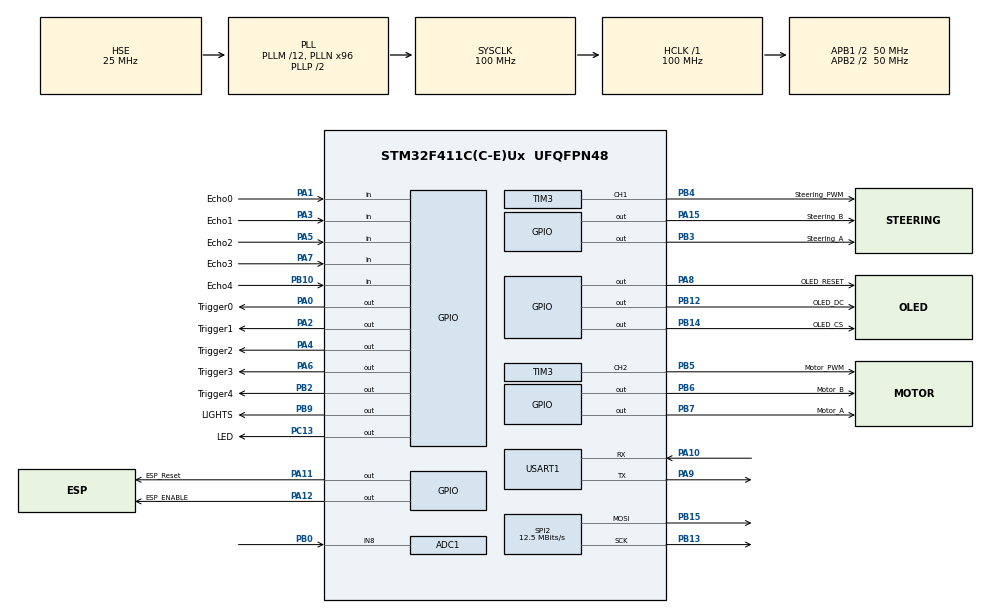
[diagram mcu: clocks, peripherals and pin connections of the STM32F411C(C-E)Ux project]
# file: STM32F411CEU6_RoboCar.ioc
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ADC1.Channel-1\#ChannelRegularConversion=ADC_CHANNEL_8
ADC1.ContinuousConvMode=ENABLE
ADC1.DMAContinuousRequests=DISABLE
ADC1.ExternalTrigConv=ADC_EXTERNALTRIGCONV_T3_CC1
ADC1.NbrOfConversion=1
ADC1.NbrOfConversionFlag=1
ADC1.Rank-1\#ChannelRegularConversion=1
ADC1.SamplingTime-1\#ChannelRegularConversion=ADC_SAMPLETIME_3CYCLES
ADC1.ScanConvMode=ENABLE
ADC1.master=1
IWDG.Prescaler=IWDG_PRESCALER_256
IWDG.Reload=512
Mcu.Family=STM32F4
Mcu.Name=STM32F411C(C-E)Ux
Mcu.Package=UFQFPN48
NVIC.ADC_IRQn=true\:0\:0\:false\:false\:true\:true\:true\:true
NVIC.PriorityGroup=NVIC_PRIORITYGROUP_4
NVIC.TIM2_IRQn=true\:0\:0\:false\:false\:true\:true\:true\:true
NVIC.TIM3_IRQn=true\:0\:0\:false\:false\:true\:true\:true\:true
NVIC.TIM4_IRQn=true\:0\:0\:false\:false\:true\:true\:true\:true
NVIC.USART1_IRQn=true\:0\:0\:false\:false\:true\:true\:true\:true
PA0-WKUP.GPIO_Label=Trigger0
PA0-WKUP.GPIO_Speed=GPIO_SPEED_FREQ_VERY_HIGH
PA0-WKUP.Signal=GPIO_Output
PA1.GPIO_Label=Echo0
PA1.GPIO_PuPd=GPIO_NOPULL
PA1.Signal=GPIO_Input
PA10.Mode=Asynchronous
PA10.Signal=USART1_RX
PA11.GPIO_Label=ESP_Reset
PA11.GPIO_Speed=GPIO_SPEED_FREQ_VERY_HIGH
PA11.PinState=GPIO_PIN_SET
PA11.Signal=GPIO_Output
PA12.GPIO_Label=ESP_ENABLE
PA12.GPIO_Speed=GPIO_SPEED_FREQ_VERY_HIGH
PA12.PinState=GPIO_PIN_SET
PA12.Signal=GPIO_Output
PA13.Mode=Serial_Wire
PA13.Signal=SYS_JTMS-SWDIO
PA14.Mode=Serial_Wire
PA14.Signal=SYS_JTCK-SWCLK
PA15.GPIO_Label=Steering_B
PA15.GPIO_Speed=GPIO_SPEED_FREQ_VERY_HIGH
PA15.Signal=GPIO_Output
PA2.GPIO_Label=Trigger1
PA2.GPIO_Speed=GPIO_SPEED_FREQ_VERY_HIGH
PA2.Signal=GPIO_Output
PA3.GPIO_Label=Echo1
PA3.GPIO_PuPd=GPIO_NOPULL
PA3.Signal=GPIO_Input
PA4.GPIO_Label=Trigger2
PA4.GPIO_Speed=GPIO_SPEED_FREQ_VERY_HIGH
PA4.Signal=GPIO_Output
PA5.GPIO_Label=Echo2
PA5.GPIO_PuPd=GPIO_NOPULL
PA5.Signal=GPIO_Input
PA6.GPIO_Label=Trigger3
PA6.GPIO_Speed=GPIO_SPEED_FREQ_VERY_HIGH
PA6.Signal=GPIO_Output
PA7.GPIO_Label=Echo3
PA7.GPIO_PuPd=GPIO_NOPULL
PA7.Signal=GPIO_Input
PA8.GPIO_Label=OLED_RESET
PA8.GPIO_Speed=GPIO_SPEED_FREQ_VERY_HIGH
PA8.PinState=GPIO_PIN_RESET
PA8.Signal=GPIO_Output
PA9.Mode=Asynchronous
PA9.Signal=USART1_TX
PB0.Signal=ADCx_IN8
PB10.GPIO_Label=Echo4
PB10.GPIO_PuPd=GPIO_NOPULL
PB10.Signal=GPIO_Input
PB12.GPIO_Label=OLED_DC
PB12.GPIO_Speed=GPIO_SPEED_FREQ_VERY_HIGH
PB12.PinState=GPIO_PIN_RESET
PB12.Signal=GPIO_Output
PB13.Mode=TX_Only_Simplex_Unidirect_Master
PB13.Signal=SPI2_SCK
PB14.GPIO_Label=OLED_CS
PB14.GPIO_Speed=GPIO_SPEED_FREQ_VERY_HIGH
PB14.PinState=GPIO_PIN_SET
PB14.Signal=GPIO_Output
PB15.Mode=TX_Only_Simplex_Unidirect_Master
PB15.Signal=SPI2_MOSI
PB2.GPIO_Label=Trigger4
PB2.GPIO_Speed=GPIO_SPEED_FREQ_VERY_HIGH
PB2.Signal=GPIO_Output
PB3.GPIO_Label=Steering_A
PB3.GPIO_Speed=GPIO_SPEED_FREQ_VERY_HIGH
PB3.Signal=GPIO_Output
PB4.GPIO_Label=Steering_PWM
PB4.Signal=S_TIM3_CH1
PB5.GPIO_Label=Motor_PWM
PB5.Signal=S_TIM3_CH2
PB6.GPIO_Label=Motor_B
PB6.GPIO_Speed=GPIO_SPEED_FREQ_VERY_HIGH
PB6.Signal=GPIO_Output
PB7.GPIO_Label=Motor_A
PB7.GPIO_Speed=GPIO_SPEED_FREQ_VERY_HIGH
PB7.Signal=GPIO_Output
PB9.GPIO_Label=LIGHTS
PB9.GPIO_Speed=GPIO_SPEED_FREQ_LOW
PB9.Signal=GPIO_Output
PC13-ANTI_TAMP.GPIO_Label=LED
PC13-ANTI_TAMP.PinState=GPIO_PIN_SET
PC13-ANTI_TAMP.Signal=GPIO_Output
PH0\ -\ OSC_IN.Mode=HSE-External-Oscillator
PH0\ -\ OSC_IN.Signal=RCC_OSC_IN
PH1\ -\ OSC_OUT.Mode=HSE-External-Oscillator
PH1\ -\ OSC_OUT.Signal=RCC_OSC_OUT
ProjectManager.HeapSize=0x200
ProjectManager.StackSize=0x400
ProjectManager.TargetToolchain=STM32CubeIDE
RCC.48MHZClocksFreq_Value=50000000
RCC.AHBFreq_Value=100000000
RCC.APB1CLKDivider=RCC_HCLK_DIV2
RCC.APB1Freq_Value=50000000
RCC.APB1TimFreq_Value=100000000
RCC.APB2CLKDivider=RCC_HCLK_DIV2
RCC.APB2Freq_Value=50000000
RCC.APB2TimFreq_Value=100000000
RCC.CortexFreq_Value=100000000
RCC.HCLKFreq_Value=100000000
RCC.HSE_VALUE=25000000
RCC.HSI_VALUE=16000000
RCC.LSE_VALUE=32768
RCC.PLLM=12
RCC.PLLN=96
RCC.PLLSourceVirtual=RCC_PLLSOURCE_HSE
RCC.SYSCLKFreq_VALUE=100000000
RCC.SYSCLKSource=RCC_SYSCLKSOURCE_PLLCLK
RCC.VCOOutputFreq_Value=200000000
SH.ADCx_IN8.0=ADC1_IN8,IN8
SH.S_TIM3_CH1.0=TIM3_CH1,PWM Generation1 CH1
SH.S_TIM3_CH2.0=TIM3_CH2,PWM Generation2 CH2
SPI2.BaudRatePrescaler=SPI_BAUDRATEPRESCALER_4
SPI2.CalculateBaudRate=12.5 MBits/s
SPI2.Direction=SPI_DIRECTION_2LINES
SPI2.Mode=SPI_MODE_MASTER
SPI2.VirtualType=VM_MASTER
TIM2.Period=9999
TIM2.Prescaler=10000
TIM3.Channel-PWM\ Generation1\ CH1=TIM_CHANNEL_1
TIM3.Channel-PWM\ Generation2\ CH2=TIM_CHANNEL_2
TIM3.Period=255
TIM3.Prescaler=7812
TIM4.Period=57
TIM4.Prescaler=100
USART1.VirtualMode=VM_ASYNC
VP_IWDG_VS_IWDG.Mode=IWDG_Activate
VP_TIM2_VS_ClockSourceINT.Mode=Internal
VP_TIM3_VS_ClockSourceINT.Mode=Internal
VP_TIM4_VS_ClockSourceINT.Mode=Internal
board=custom

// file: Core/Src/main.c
/* USER CODE BEGIN Header */
/**
  ******************************************************************************
  * @file           : main.c
  * @brief          : Main program body
  ******************************************************************************
  * @attention
  *
  * <h2><center>&copy; Copyright (c) 2021 STMicroelectronics.
  * All rights reserved.</center></h2>
  *
  * This software component is licensed by ST under BSD 3-Clause license,
  * the "License"; You may not use this file except in compliance with the
  * License. You may obtain a copy of the License at:
  *                        opensource.org/licenses/BSD-3-Clause
  *
  ******************************************************************************
  */
/* USER CODE END Header */
#include "main.h"

/* USER CODE BEGIN Includes */
#include "myLibrary.h"
/* USER CODE END Includes */

ADC_HandleTypeDef hadc1;

IWDG_HandleTypeDef hiwdg;

SPI_HandleTypeDef hspi2;

TIM_HandleTypeDef htim2;
TIM_HandleTypeDef htim3;
TIM_HandleTypeDef htim4;

UART_HandleTypeDef huart1;

void SystemClock_Config(void);
static void MX_GPIO_Init(void);
static void MX_ADC1_Init(void);
static void MX_TIM2_Init(void);
static void MX_TIM3_Init(void);
static void MX_USART1_UART_Init(void);
static void MX_TIM4_Init(void);
static void MX_SPI2_Init(void);
static void MX_IWDG_Init(void);

int main(void)
{

  /* MCU Configuration--------------------------------------------------------*/

  /* Reset of all peripherals, Initializes the Flash interface and the Systick. */
  HAL_Init();

  /* Configure the system clock */
  SystemClock_Config();

  /* Initialize all configured peripherals */
  MX_GPIO_Init();
  MX_ADC1_Init();
  MX_TIM2_Init();
  MX_TIM3_Init();
  MX_USART1_UART_Init();
  MX_TIM4_Init();
  MX_SPI2_Init();
  MX_IWDG_Init();
  /* USER CODE BEGIN 2 */
	//WatchDog set to 3.2768 seconds
	IWDG->KR = 0xAAAA;//Reset WatchDog
	IWDG->KR = 0xCCCC;//Start WatchDog
  HAL_TIM_Base_Start_IT(&htim2);//1s
  HAL_TIM_Base_Start_IT(&htim3);//20ms -> 50Hz
  HAL_TIM_PWM_Start_IT(&htim3, Steering_PWM_Channel);
  HAL_TIM_PWM_Start_IT(&htim3, Motor_PWM_Channel);
  __HAL_TIM_SET_COMPARE(&htim3, Steering_PWM_Channel, 255);
  __HAL_TIM_SET_COMPARE(&htim3, Motor_PWM_Channel, 0);
  HAL_ADC_Start_IT(&hadc1);
	ssd1306_Init();
	ssd1306_Fill(Black);
	ssd1306_SetCursor(0, 0);
	ssd1306_WriteString("   STM32", Font_11x18, White);
	ssd1306_SetCursor(0, 20);
	ssd1306_WriteString("  ESP8266", Font_11x18, White);
	ssd1306_SetCursor(0, 40);
	ssd1306_WriteString("  Booting", Font_11x18, White);
	ssd1306_UpdateScreen();
	__HAL_UART_ENABLE_IT(&huart1, UART_IT_RXNE);
	ESP_Server_Init();
	HAL_GPIO_WritePin(Steering_B_GPIO_Port, Steering_B_Pin, 0);
	HAL_GPIO_WritePin(Steering_A_GPIO_Port, Steering_A_Pin, 0);
  /* USER CODE END 2 */

  /* Infinite loop */
  while (1)
  {

    /* USER CODE BEGIN 3 */
	IWDG->KR = 0xAAAA;//Reset WatchDog

	if(oneSecondFlag)
	{
		oneSecondFlag = 0;
		measureDistances();
		calculateBattery();
		updateScreen();
	}

	if(messageHandlerFlag)
	{
	  messageHandlerFlag = 0;
	  netTimeout = 0;
	  no_activity_counter = 0;
	  messageHandler();
	}

	  if(no_activity_counter > 20
		&& esp_state == ESP_Connected)
	  {
		  IWDG->KR = 0xAAAA;//Reset WatchDog
		  HAL_UART_Transmit(&huart1, (uint8_t*)"AT+CWJAP?\r\n", strlen("AT+CWJAP?\r\n"), 100);
		  esp_state = ESP_Disconnected;//until message handler confirms
		  HAL_Delay(500);
	  }else if(esp_state == ESP_Disconnected
			  && no_activity_counter > 30)
	  {
		  ESP_Server_Init();
	  }
  }
  /* USER CODE END 3 */
}

void SystemClock_Config(void)
{
  RCC_OscInitTypeDef RCC_OscInitStruct = {0};
  RCC_ClkInitTypeDef RCC_ClkInitStruct = {0};

  /** Configure the main internal regulator output voltage
  */
  __HAL_RCC_PWR_CLK_ENABLE();
  __HAL_PWR_VOLTAGESCALING_CONFIG(PWR_REGULATOR_VOLTAGE_SCALE1);

  /** Initializes the RCC Oscillators according to the specified parameters
  * in the RCC_OscInitTypeDef structure.
  */
  RCC_OscInitStruct.OscillatorType = RCC_OSCILLATORTYPE_LSI|RCC_OSCILLATORTYPE_HSE;
  RCC_OscInitStruct.HSEState = RCC_HSE_ON;
  RCC_OscInitStruct.LSIState = RCC_LSI_ON;
  RCC_OscInitStruct.PLL.PLLState = RCC_PLL_ON;
  RCC_OscInitStruct.PLL.PLLSource = RCC_PLLSOURCE_HSE;
  RCC_OscInitStruct.PLL.PLLM = 12;
  RCC_OscInitStruct.PLL.PLLN = 96;
  RCC_OscInitStruct.PLL.PLLP = RCC_PLLP_DIV2;
  RCC_OscInitStruct.PLL.PLLQ = 4;
  if (HAL_RCC_OscConfig(&RCC_OscInitStruct) != HAL_OK)
  {
    Error_Handler();
  }

  /** Initializes the CPU, AHB and APB buses clocks
  */
  RCC_ClkInitStruct.ClockType = RCC_CLOCKTYPE_HCLK|RCC_CLOCKTYPE_SYSCLK
                              |RCC_CLOCKTYPE_PCLK1|RCC_CLOCKTYPE_PCLK2;
  RCC_ClkInitStruct.SYSCLKSource = RCC_SYSCLKSOURCE_PLLCLK;
  RCC_ClkInitStruct.AHBCLKDivider = RCC_SYSCLK_DIV1;
  RCC_ClkInitStruct.APB1CLKDivider = RCC_HCLK_DIV2;
  RCC_ClkInitStruct.APB2CLKDivider = RCC_HCLK_DIV2;

  if (HAL_RCC_ClockConfig(&RCC_ClkInitStruct, FLASH_LATENCY_3) != HAL_OK)
  {
    Error_Handler();
  }
}

static void MX_ADC1_Init(void)
{

  ADC_ChannelConfTypeDef sConfig = {0};

  /** Configure the global features of the ADC (Clock, Resolution, Data Alignment and number of conversion)
  */
  hadc1.Instance = ADC1;
  hadc1.Init.ClockPrescaler = ADC_CLOCK_SYNC_PCLK_DIV2;
  hadc1.Init.Resolution = ADC_RESOLUTION_12B;
  hadc1.Init.ScanConvMode = ENABLE;
  hadc1.Init.ContinuousConvMode = ENABLE;
  hadc1.Init.DiscontinuousConvMode = DISABLE;
  hadc1.Init.ExternalTrigConvEdge = ADC_EXTERNALTRIGCONVEDGE_RISING;
  hadc1.Init.ExternalTrigConv = ADC_EXTERNALTRIGCONV_T3_CC1;
  hadc1.Init.DataAlign = ADC_DATAALIGN_RIGHT;
  hadc1.Init.NbrOfConversion = 1;
  hadc1.Init.DMAContinuousRequests = DISABLE;
  hadc1.Init.EOCSelection = ADC_EOC_SINGLE_CONV;
  if (HAL_ADC_Init(&hadc1) != HAL_OK)
  {
    Error_Handler();
  }

  /** Configure for the selected ADC regular channel its corresponding rank in the sequencer and its sample time.
  */
  sConfig.Channel = ADC_CHANNEL_8;
  sConfig.Rank = 1;
  sConfig.SamplingTime = ADC_SAMPLETIME_3CYCLES;
  if (HAL_ADC_ConfigChannel(&hadc1, &sConfig) != HAL_OK)
  {
    Error_Handler();
  }

}

static void MX_IWDG_Init(void)
{

  hiwdg.Instance = IWDG;
  hiwdg.Init.Prescaler = IWDG_PRESCALER_256;
  hiwdg.Init.Reload = 512;
  if (HAL_IWDG_Init(&hiwdg) != HAL_OK)
  {
    Error_Handler();
  }

}

static void MX_SPI2_Init(void)
{

  /* SPI2 parameter configuration*/
  hspi2.Instance = SPI2;
  hspi2.Init.Mode = SPI_MODE_MASTER;
  hspi2.Init.Direction = SPI_DIRECTION_2LINES;
  hspi2.Init.DataSize = SPI_DATASIZE_8BIT;
  hspi2.Init.CLKPolarity = SPI_POLARITY_LOW;
  hspi2.Init.CLKPhase = SPI_PHASE_1EDGE;
  hspi2.Init.NSS = SPI_NSS_SOFT;
  hspi2.Init.BaudRatePrescaler = SPI_BAUDRATEPRESCALER_4;
  hspi2.Init.FirstBit = SPI_FIRSTBIT_MSB;
  hspi2.Init.TIMode = SPI_TIMODE_DISABLE;
  hspi2.Init.CRCCalculation = SPI_CRCCALCULATION_DISABLE;
  hspi2.Init.CRCPolynomial = 10;
  if (HAL_SPI_Init(&hspi2) != HAL_OK)
  {
    Error_Handler();
  }

}

static void MX_TIM2_Init(void)
{

  TIM_ClockConfigTypeDef sClockSourceConfig = {0};
  TIM_MasterConfigTypeDef sMasterConfig = {0};

  htim2.Instance = TIM2;
  htim2.Init.Prescaler = 10000;
  htim2.Init.CounterMode = TIM_COUNTERMODE_UP;
  htim2.Init.Period = 9999;
  htim2.Init.ClockDivision = TIM_CLOCKDIVISION_DIV1;
  htim2.Init.AutoReloadPreload = TIM_AUTORELOAD_PRELOAD_DISABLE;
  if (HAL_TIM_Base_Init(&htim2) != HAL_OK)
  {
    Error_Handler();
  }
  sClockSourceConfig.ClockSource = TIM_CLOCKSOURCE_INTERNAL;
  if (HAL_TIM_ConfigClockSource(&htim2, &sClockSourceConfig) != HAL_OK)
  {
    Error_Handler();
  }
  sMasterConfig.MasterOutputTrigger = TIM_TRGO_RESET;
  sMasterConfig.MasterSlaveMode = TIM_MASTERSLAVEMODE_DISABLE;
  if (HAL_TIMEx_MasterConfigSynchronization(&htim2, &sMasterConfig) != HAL_OK)
  {
    Error_Handler();
  }

}

static void MX_TIM3_Init(void)
{

  TIM_ClockConfigTypeDef sClockSourceConfig = {0};
  TIM_MasterConfigTypeDef sMasterConfig = {0};
  TIM_OC_InitTypeDef sConfigOC = {0};

  htim3.Instance = TIM3;
  htim3.Init.Prescaler = 7812;
  htim3.Init.CounterMode = TIM_COUNTERMODE_UP;
  htim3.Init.Period = 255;
  htim3.Init.ClockDivision = TIM_CLOCKDIVISION_DIV1;
  htim3.Init.AutoReloadPreload = TIM_AUTORELOAD_PRELOAD_DISABLE;
  if (HAL_TIM_Base_Init(&htim3) != HAL_OK)
  {
    Error_Handler();
  }
  sClockSourceConfig.ClockSource = TIM_CLOCKSOURCE_INTERNAL;
  if (HAL_TIM_ConfigClockSource(&htim3, &sClockSourceConfig) != HAL_OK)
  {
    Error_Handler();
  }
  if (HAL_TIM_PWM_Init(&htim3) != HAL_OK)
  {
    Error_Handler();
  }
  sMasterConfig.MasterOutputTrigger = TIM_TRGO_RESET;
  sMasterConfig.MasterSlaveMode = TIM_MASTERSLAVEMODE_DISABLE;
  if (HAL_TIMEx_MasterConfigSynchronization(&htim3, &sMasterConfig) != HAL_OK)
  {
    Error_Handler();
  }
  sConfigOC.OCMode = TIM_OCMODE_PWM1;
  sConfigOC.Pulse = 0;
  sConfigOC.OCPolarity = TIM_OCPOLARITY_HIGH;
  sConfigOC.OCFastMode = TIM_OCFAST_DISABLE;
  if (HAL_TIM_PWM_ConfigChannel(&htim3, &sConfigOC, TIM_CHANNEL_1) != HAL_OK)
  {
    Error_Handler();
  }
  if (HAL_TIM_PWM_ConfigChannel(&htim3, &sConfigOC, TIM_CHANNEL_2) != HAL_OK)
  {
    Error_Handler();
  }
  HAL_TIM_MspPostInit(&htim3);

}

static void MX_TIM4_Init(void)
{

  TIM_ClockConfigTypeDef sClockSourceConfig = {0};
  TIM_MasterConfigTypeDef sMasterConfig = {0};

  htim4.Instance = TIM4;
  htim4.Init.Prescaler = 100;
  htim4.Init.CounterMode = TIM_COUNTERMODE_UP;
  htim4.Init.Period = 57;
  htim4.Init.ClockDivision = TIM_CLOCKDIVISION_DIV1;
  htim4.Init.AutoReloadPreload = TIM_AUTORELOAD_PRELOAD_DISABLE;
  if (HAL_TIM_Base_Init(&htim4) != HAL_OK)
  {
    Error_Handler();
  }
  sClockSourceConfig.ClockSource = TIM_CLOCKSOURCE_INTERNAL;
  if (HAL_TIM_ConfigClockSource(&htim4, &sClockSourceConfig) != HAL_OK)
  {
    Error_Handler();
  }
  sMasterConfig.MasterOutputTrigger = TIM_TRGO_RESET;
  sMasterConfig.MasterSlaveMode = TIM_MASTERSLAVEMODE_DISABLE;
  if (HAL_TIMEx_MasterConfigSynchronization(&htim4, &sMasterConfig) != HAL_OK)
  {
    Error_Handler();
  }

}

static void MX_USART1_UART_Init(void)
{

  huart1.Instance = USART1;
  huart1.Init.BaudRate = 115200;
  huart1.Init.WordLength = UART_WORDLENGTH_8B;
  huart1.Init.StopBits = UART_STOPBITS_1;
  huart1.Init.Parity = UART_PARITY_NONE;
  huart1.Init.Mode = UART_MODE_TX_RX;
  huart1.Init.HwFlowCtl = UART_HWCONTROL_NONE;
  huart1.Init.OverSampling = UART_OVERSAMPLING_16;
  if (HAL_UART_Init(&huart1) != HAL_OK)
  {
    Error_Handler();
  }

}

static void MX_GPIO_Init(void)
{
  GPIO_InitTypeDef GPIO_InitStruct = {0};

  /* GPIO Ports Clock Enable */
  __HAL_RCC_GPIOC_CLK_ENABLE();
  __HAL_RCC_GPIOH_CLK_ENABLE();
  __HAL_RCC_GPIOA_CLK_ENABLE();
  __HAL_RCC_GPIOB_CLK_ENABLE();

  /*Configure GPIO pin Output Level */
  HAL_GPIO_WritePin(LED_GPIO_Port, LED_Pin, GPIO_PIN_SET);

  /*Configure GPIO pin Output Level */
  HAL_GPIO_WritePin(GPIOA, Trigger0_Pin|Trigger1_Pin|Trigger2_Pin|Trigger3_Pin
                          |OLED_RESET_Pin|Steering_B_Pin, GPIO_PIN_RESET);

  /*Configure GPIO pin Output Level */
  HAL_GPIO_WritePin(GPIOB, Trigger4_Pin|OLED_DC_Pin|Steering_A_Pin|Motor_B_Pin
                          |Motor_A_Pin|LIGHTS_Pin, GPIO_PIN_RESET);

  /*Configure GPIO pin Output Level */
  HAL_GPIO_WritePin(OLED_CS_GPIO_Port, OLED_CS_Pin, GPIO_PIN_SET);

  /*Configure GPIO pin Output Level */
  HAL_GPIO_WritePin(GPIOA, ESP_Reset_Pin|ESP_ENABLE_Pin, GPIO_PIN_SET);

  /*Configure GPIO pin : LED_Pin */
  GPIO_InitStruct.Pin = LED_Pin;
  GPIO_InitStruct.Mode = GPIO_MODE_OUTPUT_PP;
  GPIO_InitStruct.Pull = GPIO_NOPULL;
  GPIO_InitStruct.Speed = GPIO_SPEED_FREQ_LOW;
  HAL_GPIO_Init(LED_GPIO_Port, &GPIO_InitStruct);

  /*Configure GPIO pins : Trigger0_Pin Trigger1_Pin Trigger2_Pin Trigger3_Pin
                           OLED_RESET_Pin ESP_Reset_Pin ESP_ENABLE_Pin Steering_B_Pin */
  GPIO_InitStruct.Pin = Trigger0_Pin|Trigger1_Pin|Trigger2_Pin|Trigger3_Pin
                          |OLED_RESET_Pin|ESP_Reset_Pin|ESP_ENABLE_Pin|Steering_B_Pin;
  GPIO_InitStruct.Mode = GPIO_MODE_OUTPUT_PP;
  GPIO_InitStruct.Pull = GPIO_NOPULL;
  GPIO_InitStruct.Speed = GPIO_SPEED_FREQ_VERY_HIGH;
  HAL_GPIO_Init(GPIOA, &GPIO_InitStruct);

  /*Configure GPIO pins : Echo0_Pin Echo1_Pin Echo2_Pin Echo3_Pin */
  GPIO_InitStruct.Pin = Echo0_Pin|Echo1_Pin|Echo2_Pin|Echo3_Pin;
  GPIO_InitStruct.Mode = GPIO_MODE_INPUT;
  GPIO_InitStruct.Pull = GPIO_NOPULL;
  HAL_GPIO_Init(GPIOA, &GPIO_InitStruct);

  /*Configure GPIO pins : Trigger4_Pin OLED_DC_Pin OLED_CS_Pin Steering_A_Pin
                           Motor_B_Pin Motor_A_Pin */
  GPIO_InitStruct.Pin = Trigger4_Pin|OLED_DC_Pin|OLED_CS_Pin|Steering_A_Pin
                          |Motor_B_Pin|Motor_A_Pin;
  GPIO_InitStruct.Mode = GPIO_MODE_OUTPUT_PP;
  GPIO_InitStruct.Pull = GPIO_NOPULL;
  GPIO_InitStruct.Speed = GPIO_SPEED_FREQ_VERY_HIGH;
  HAL_GPIO_Init(GPIOB, &GPIO_InitStruct);

  /*Configure GPIO pin : Echo4_Pin */
  GPIO_InitStruct.Pin = Echo4_Pin;
  GPIO_InitStruct.Mode = GPIO_MODE_INPUT;
  GPIO_InitStruct.Pull = GPIO_NOPULL;
  HAL_GPIO_Init(Echo4_GPIO_Port, &GPIO_InitStruct);

  /*Configure GPIO pin : LIGHTS_Pin */
  GPIO_InitStruct.Pin = LIGHTS_Pin;
  GPIO_InitStruct.Mode = GPIO_MODE_OUTPUT_PP;
  GPIO_InitStruct.Pull = GPIO_NOPULL;
  GPIO_InitStruct.Speed = GPIO_SPEED_FREQ_LOW;
  HAL_GPIO_Init(LIGHTS_GPIO_Port, &GPIO_InitStruct);

}

void Error_Handler(void)
{
  __disable_irq();
  while (1)
  {
  }
}
